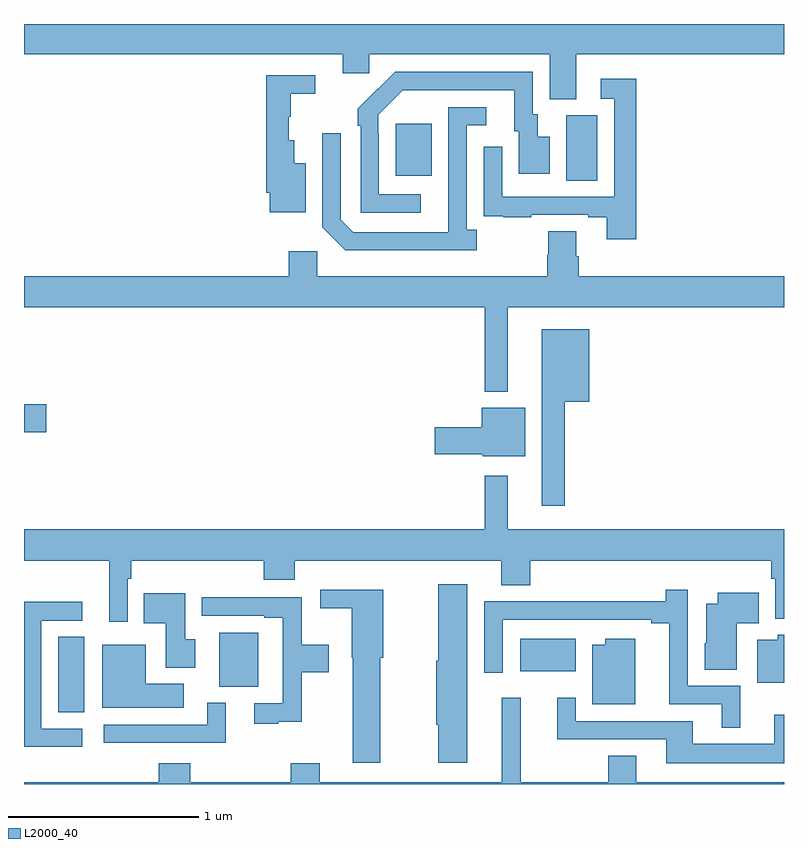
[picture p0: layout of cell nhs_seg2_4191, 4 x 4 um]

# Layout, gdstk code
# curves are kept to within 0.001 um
import gdstk
lib = gdstk.Library(unit=1e-6, precision=1e-09)
def R(c, l, rs):  # rectangles x0, y0, x1, y1
    for r in rs: c.add(gdstk.rectangle(r[:2], r[2:], *l))
def P(c, l, *ps):  # polygons
    for p in ps: c.add(gdstk.Polygon(p, *l))
L2000_40 = (2000, 40)

nhs_seg2_4191 = lib.new_cell('nhs_seg2_4191')
R(nhs_seg2_4191, L2000_40, [(337.181,640.177,337.318,640.574), (338.027,640.313,338.233,640.597), (339.611,640.394,339.904,640.564), (337,641.651,337.117,641.798), (339.854,642.976,340.018,643.32), (338.957,643.001,339.145,643.276)])
P(nhs_seg2_4191, L2000_40, [(339.907,643.64),(341,643.64),(341,643.8),(337,643.8),(337,643.64),(338.678,643.64),(338.678,643.542),(338.817,643.542),(338.817,643.64),(339.767,643.64),(339.767,643.405),(339.907,643.405)],
  [(339.088,642.903),(338.868,642.903),(338.868,643.223),(338.865,643.223),(338.865,643.323),(338.994,643.452),(339.581,643.452),(339.581,643.236),(339.605,643.236),(339.605,643.011),(339.766,643.011),(339.766,643.207),(339.703,643.207),(339.703,643.326),(339.678,643.326),(339.678,643.548),(338.954,643.548),(338.757,643.353),(338.757,643.265),(338.772,643.265),(338.772,642.807),(339.088,642.807)],
  [(338.482,643.066),(338.422,643.066),(338.422,643.189),(338.393,643.189),(338.393,643.311),(338.404,643.311),(338.404,643.432),(338.533,643.432),(338.533,643.53),(338.275,643.53),(338.275,642.913),(338.294,642.913),(338.294,642.809),(338.482,642.809)],
  [(340.223,643.513),(340.035,643.513),(340.035,643.407),(340.107,643.407),(340.107,642.891),(339.516,642.891),(339.516,643.153),(339.42,643.153),(339.42,642.898),(339.421,642.898),(339.421,642.789),(339.523,642.789),(339.523,642.783),(339.671,642.783),(339.671,642.795),(339.971,642.795),(339.971,642.783),(340.067,642.783),(340.067,642.666),(340.223,642.666)],
  [(339.382,642.718),(339.33,642.718),(339.33,643.266),(339.433,643.266),(339.433,643.362),(339.234,643.362),(339.233,642.705),(338.733,642.705),(338.667,642.771),(338.667,643.225),(338.571,643.225),(338.571,642.729),(338.692,642.608),(339.382,642.608)],
  [(339.547,642.308),(341,642.308),(341,642.472),(339.92,642.472),(339.92,642.578),(339.907,642.578),(339.907,642.71),(339.76,642.71),(339.76,642.585),(339.755,642.585),(339.755,642.472),(338.544,642.472),(338.544,642.604),(338.393,642.604),(338.393,642.472),(337,642.472),(337,642.308),(339.426,642.308),(339.426,641.864),(339.547,641.864)],
  [(339.847,641.813),(339.976,641.813),(339.976,642.193),(339.725,642.193),(339.725,641.265),(339.847,641.265)],
  [(339.637,641.779),(339.41,641.779),(339.41,641.678),(339.162,641.678),(339.162,641.536),(339.414,641.536),(339.414,641.525),(339.637,641.525)],
  [(337.545,640.88),(337.565,640.88),(337.565,640.976),(338.261,640.976),(338.261,640.874),(338.426,640.874),(338.426,640.976),(339.512,640.976),(339.512,640.846),(339.665,640.846),(339.665,640.976),(340.933,640.976),(340.933,640.88),(340.953,640.88),(340.953,640.67),(341,640.67),(341,641.14),(339.547,641.14),(339.547,641.422),(339.426,641.422),(339.426,641.14),(337,641.14),(337,640.976),(337.448,640.976),(337.448,640.653),(337.545,640.653)],
  [(339.334,640.852),(339.181,640.852),(339.181,640.449),(339.17,640.449),(339.17,640.113),(339.181,640.113),(339.181,639.912),(339.334,639.912)],
  [(340.771,640.317),(340.494,640.317),(340.494,640.822),(340.378,640.822),(340.378,640.763),(339.748,640.763),(339.748,640.761),(339.423,640.761),(339.423,640.386),(339.519,640.386),(339.519,640.665),(340.301,640.665),(340.301,640.645),(340.397,640.645),(340.397,640.221),(340.673,640.221),(340.673,640.097),(340.771,640.097)],
  [(338.874,640.464),(338.892,640.464),(338.892,640.822),(338.559,640.822),(338.559,640.724),(338.726,640.724),(338.726,640.464),(338.729,640.464),(338.729,639.912),(338.874,639.912)],
  [(340.75,640.646),(340.868,640.646),(340.868,640.807),(340.652,640.807),(340.652,640.75),(340.592,640.75),(340.592,640.542),(340.583,640.542),(340.583,640.402),(340.75,640.402)],
  [(337.9,640.563),(337.849,640.563),(337.849,640.804),(337.63,640.804),(337.63,640.646),(337.745,640.646),(337.745,640.412),(337.9,640.412)],
  [(338.339,640.127),(338.462,640.127),(338.462,640.387),(338.605,640.387),(338.605,640.534),(338.462,640.534),(338.462,640.782),(338.177,640.782),(338.177,640.784),(337.935,640.784),(337.935,640.686),(338.264,640.686),(338.264,640.674),(338.361,640.674),(338.361,640.224),(338.211,640.224),(338.211,640.116),(338.339,640.116)],
  [(337.306,640.092),(337.092,640.092),(337.092,640.659),(337.306,640.659),(337.306,640.758),(337,640.758),(337,639.996),(337.306,639.996)],
  [(341,640.585),(340.968,640.585),(340.968,640.558),(340.859,640.558),(340.859,640.334),(341,640.334)],
  [(340.216,640.564),(340.058,640.564),(340.058,640.534),(339.992,640.534),(339.992,640.22),(340.216,640.22)],
  [(337.84,640.327),(337.642,640.327),(337.642,640.534),(337.412,640.534),(337.412,640.202),(337.84,640.202)],
  [(341,640.165),(340.949,640.165),(340.949,640.012),(340.519,640.012),(340.519,640.131),(339.903,640.131),(339.903,640.255),(339.806,640.255),(339.806,640.035),(340.379,640.035),(340.379,639.908),(341,639.908)],
  [(341,639.808),(340.222,639.808),(340.222,639.95),(340.075,639.95),(340.075,639.808),(339.614,639.808),(339.614,640.255),(339.515,640.255),(339.515,639.808),(338.557,639.808),(338.557,639.91),(338.405,639.91),(338.405,639.808),(337.874,639.808),(337.874,639.91),(337.709,639.91),(337.709,639.808),(337,639.808),(337,639.8),(341,639.8)],
  [(338.062,640.228),(337.965,640.228),(337.965,640.113),(337.419,640.113),(337.419,640.017),(338.062,640.017)])

lib.write_gds('nhs_seg2_4191.gds')
